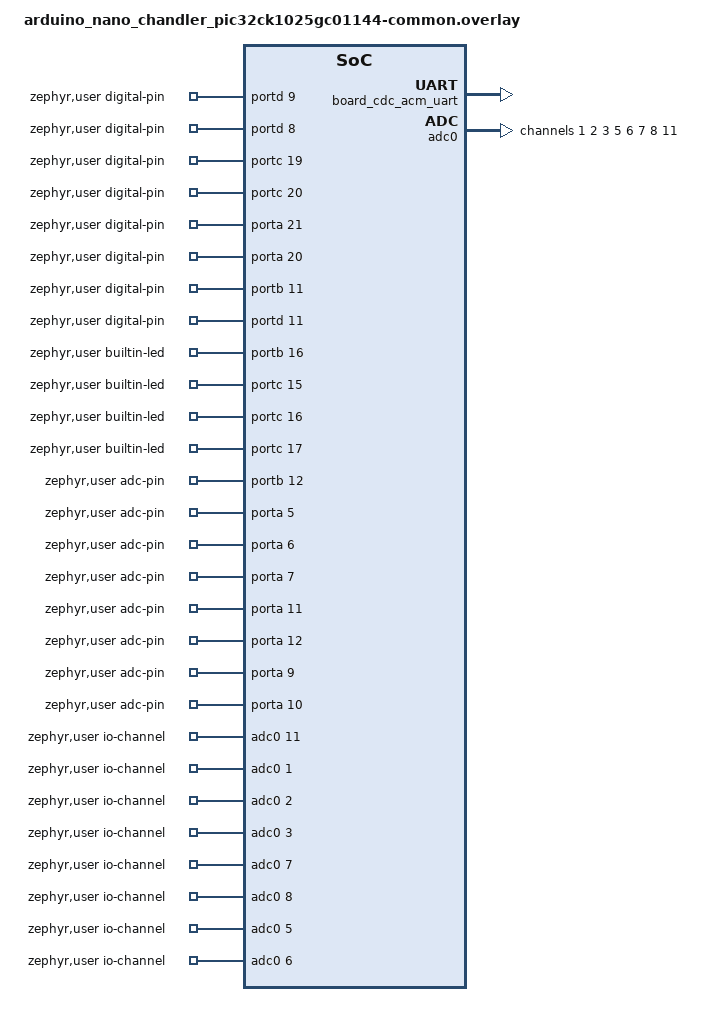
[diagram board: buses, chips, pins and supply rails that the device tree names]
/*
 * Copyright (c) 2026 Arduino SA
 *
 * SPDX-License-Identifier: Apache-2.0
 */

/*
 * Shared between the "nano_chandler" and "nano_chandler_monica" boards, which
 * both build out of this variant directory. Anything that differs between
 * the bare Nano Chandler module and the Monica carrier
 * (console/log routing, TCC2/D7 PWM, "serials" list, "pwms"/"pwm-pin-gpios")
 * is intentionally left out of this file - each variant's own .overlay
 * defines those itself.
 */

#include <zephyr/dt-bindings/adc/adc.h>
#include <zephyr/dt-bindings/pwm/pwm.h>

&zephyr_udc0 {
	board_cdc_acm_uart: board_cdc_acm_uart {
		compatible = "zephyr,cdc-acm-uart";
		status = "okay";
	};
};

&pinctrl {
	empty_default: empty_default {
		group1 {
			pinmux = <>;
		};
	};

	adc0_arduino: adc0_arduino {
		group1 {
			pinmux = <PB12B_ADC_VINP11>,
				 <PA5B_ADC_VINP1>,
				 <PA6B_ADC_VINP2>,
				 <PA7B_ADC_VINP3>,
				 <PA11B_ADC_VINP7>,
				 <PA12B_ADC_VINP8>,
				 <PA9B_ADC_VINP5>,
				 <PA10B_ADC_VINP6>;
		};
	};

	tcc1_arduino: tcc1_arduino {
		group1 {
			pinmux = <PC19F_TCC1_WO4>,
				 <PC20F_TCC1_WO5>,
				 <PC15F_TCC1_WO0>,
				 <PC16F_TCC1_WO1>,
				 <PC17F_TCC1_WO2>;
		};
	};

	tcc4_arduino: tcc4_arduino {
		group1 {
			pinmux = <PA21F_TCC4_WO1>,
				 <PA20F_TCC4_WO0>;
		};
	};

	tcc3_arduino_wo0: tcc3_arduino_wo0 {
		group1 {
			pinmux = <PB11G_TCC3_WO6>;
		};
	};

	tcc5_arduino_wo1: tcc5_arduino_wo1 {
		group1 {
			pinmux = <PA23F_TCC5_WO1>;
		};
	};

	tcc6_arduino_wo1: tcc6_arduino_wo1 {
		group1 {
			pinmux = <PB24F_TCC6_WO1>;
		};
	};
};

&adc0 {
	zephyr,deferred-init;
	pinctrl-0 = <&empty_default>;
	pinctrl-1 = <&empty_default>;
	pinctrl-2 = <&adc0_arduino>;
	pinctrl-names = "default", "sleep", "arduino";

	#address-cells = <1>;
	#size-cells = <0>;

	channel@1 {
		reg = <1>;
		zephyr,gain = "ADC_GAIN_1";
		zephyr,reference = "ADC_REF_VDD_1";
		zephyr,acquisition-time = <ADC_ACQ_TIME_MAX>;
		zephyr,resolution = <12>;
	};

	channel@2 {
		reg = <2>;
		zephyr,gain = "ADC_GAIN_1";
		zephyr,reference = "ADC_REF_VDD_1";
		zephyr,acquisition-time = <ADC_ACQ_TIME_MAX>;
		zephyr,resolution = <12>;
	};

	channel@3 {
		reg = <3>;
		zephyr,gain = "ADC_GAIN_1";
		zephyr,reference = "ADC_REF_VDD_1";
		zephyr,acquisition-time = <ADC_ACQ_TIME_MAX>;
		zephyr,resolution = <12>;
	};

	channel@5 {
		reg = <5>;
		zephyr,gain = "ADC_GAIN_1";
		zephyr,reference = "ADC_REF_VDD_1";
		zephyr,acquisition-time = <ADC_ACQ_TIME_MAX>;
		zephyr,resolution = <12>;
	};

	channel@6 {
		reg = <6>;
		zephyr,gain = "ADC_GAIN_1";
		zephyr,reference = "ADC_REF_VDD_1";
		zephyr,acquisition-time = <ADC_ACQ_TIME_MAX>;
		zephyr,resolution = <12>;
	};

	channel@7 {
		reg = <7>;
		zephyr,gain = "ADC_GAIN_1";
		zephyr,reference = "ADC_REF_VDD_1";
		zephyr,acquisition-time = <ADC_ACQ_TIME_MAX>;
		zephyr,resolution = <12>;
	};

	channel@8 {
		reg = <8>;
		zephyr,gain = "ADC_GAIN_1";
		zephyr,reference = "ADC_REF_VDD_1";
		zephyr,acquisition-time = <ADC_ACQ_TIME_MAX>;
		zephyr,resolution = <12>;
	};

	channel@b {
		reg = <11>;
		zephyr,gain = "ADC_GAIN_1";
		zephyr,reference = "ADC_REF_VDD_1";
		zephyr,acquisition-time = <ADC_ACQ_TIME_MAX>;
		zephyr,resolution = <12>;
	};
};

&sercom4 {
	zephyr,deferred-init;
};

&sercom3 {
	zephyr,deferred-init;
};

&sercom2 {
	zephyr,deferred-init;
};

&sercom5 {
	zephyr,deferred-init;
};

&can0 {
	zephyr,deferred-init;
};

&tcc1 {
	zephyr,deferred-init;
	pinctrl-0 = <&empty_default>;
	pinctrl-1 = <&empty_default>;
	pinctrl-2 = <&tcc1_arduino>;
	pinctrl-names = "default", "sleep", "arduino";
};

&tcc3 {
	zephyr,deferred-init;
	pinctrl-0 = <&empty_default>;
	pinctrl-1 = <&empty_default>;
	pinctrl-2 = <&tcc3_arduino_wo0>;
	pinctrl-names = "default", "sleep", "arduino";
};

&tcc4 {
	zephyr,deferred-init;
	pinctrl-0 = <&empty_default>;
	pinctrl-1 = <&empty_default>;
	pinctrl-2 = <&tcc4_arduino>;
	pinctrl-names = "default", "sleep", "arduino";
};

&tcc5 {
	zephyr,deferred-init;
	pinctrl-0 = <&empty_default>;
	pinctrl-1 = <&empty_default>;
	pinctrl-2 = <&tcc5_arduino_wo1>;
	pinctrl-names = "default", "sleep", "arduino";
};

&tcc6 {
	zephyr,deferred-init;
	pinctrl-0 = <&empty_default>;
	pinctrl-1 = <&empty_default>;
	pinctrl-2 = <&tcc6_arduino_wo1>;
	pinctrl-names = "default", "sleep", "arduino";
};

/*
 * PFM layout, for a board whose only bootloader is MCUboot living in BFM.
 * Upgrade-only (no swap): slot1 is a staging area for sketch deltas and
 * bootloader self-updates, not an A/B swap target.
 *
 *   0x0C000000  288K   slot0 (image-0)  loader
 *   0x0C048000  728K   slot2 (image-2)  sketch (raw zsk/ELF, no MCUboot header)
 *                     ----
 *                     1016K used; last 8K is dummy secondaries (MCUboot only)
 *
 * MCUboot is NOT here: it occupies one of the SoC's two 64K BFM Dual-Boot
 * slots at 0x08000000 and is reached directly by the hardware reset vector.
 * See mcuboot.overlay in this directory, which expresses the same physical
 * layout as offsets under flash0 because MCUboot needs one flash device for
 * both itself and its slots.
 *
 * Multi-image MCUboot: loader and sketch are SEPARATE images. The loader is
 * image 0 (MCUboot-headered, chainloaded by MCUboot); the sketch is image 1
 * (raw zsk/ELF, found by the loader). Each is uploaded independently via SMP
 * in MCUboot serial recovery (1200-bps touch / double-tap).
 *
 * BOOT_VALIDATE_SLOT0=n: MCUboot does not check image hashes at boot.
 * Integrity is the host's responsibility — a corrupt upload is caught by the
 * loader's sketch header validation, not by MCUboot.
 *
 * The sketch ceiling is 728K. Measured sketches are ~24K. upload.maximum_size
 * follows automatically: extra/build.sh derives it from this table into
 * boards.local.txt, which is generated - do not edit it by hand.
 */
&flash1 {
	/delete-node/ partitions;

	partitions {
		compatible = "fixed-partitions";
		#address-cells = <1>;
		#size-cells = <1>;

		slot0_partition: image_0: partition@0 {
			label = "image-0";
			reg = <0x0 DT_SIZE_K(288)>;
		};

		/* Image 1: the sketch's own partition, no longer inside slot0. */
		user_sketch: partition@48000 {
			label = "user_sketch";
			reg = <0x48000 DT_SIZE_K(728)>;
		};

	};
};

/ {
	zephyr,user {
		digital-pin-gpios = <&portd 9 0>,   /* D0  (UART1 RX) */
					    <&portd 8 0>,   /* D1  (UART1 TX) */
					    <&portc 19 0>,  /* D2  */
					    <&portc 20 0>,  /* D3  */
					    <&porta 21 0>,  /* D4  */
					    <&porta 20 0>,  /* D5  */
					    <&portb 11 0>,  /* D6  */
					    <&portd 11 0>,  /* D7  */
					    <&porta 23 0>,  /* D8  */
					    <&portb 24 0>,  /* D9  */
					    <&porta 26 0>,  /* D10 */
					    <&portc 0 0>,   /* D11 */
					    <&porta 24 0>,  /* D12 */
					    <&porta 25 0>,  /* D13 */
					    <&portb 12 0>,  /* D14 / A0 */
					    <&porta 5 0>,   /* D15 / A1 */
					    <&porta 6 0>,   /* D16 / A2 */
					    <&porta 7 0>,   /* D17 / A3 */
					    <&porta 11 0>,  /* D18 / A4 */
					    <&porta 12 0>,  /* D19 / A5 */
					    <&porta 9 0>,   /* D20 / A6 */
					    <&porta 10 0>,  /* D21 / A7 */
					    <&portb 14 0>,  /* D22 */
					    <&portb 15 0>,  /* D23 */
					    <&portb 16 0>,  /* D24 / LED_BUILTIN */
					    <&portc 15 0>,  /* D25 / LEDR */
					    <&portc 16 0>,  /* D26 / LEDG */
					    <&portc 17 0>,  /* D27 / LEDB */
					    <&portd 5 0>,   /* D28 */
					    <&portd 12 0>,  /* D29 */
						<&portc 14 0>,
						<&portd 16 0>,
						<&portd 14 0>;

		builtin-led-gpios = <&portb 16 0>,
					    <&portc 15 0>,
					    <&portc 16 0>,
					    <&portc 17 0>;

		cdc-acm-serial = <&board_cdc_acm_uart>; /* 'Serial' object is managed by SerialUSB */

		cans = <&can0>;

		i2cs = <&sercom4>, <&sercom3>;
		spis = <&sercom5>, <&sercom2>;

		adc-pin-gpios = <&portb 12 0>,
				<&porta 5 0>,
				<&porta 6 0>,
				<&porta 7 0>,
				<&porta 11 0>,
				<&porta 12 0>,
				<&porta 9 0>,
				<&porta 10 0>;

		io-channels = <&adc0 11>,
			      <&adc0 1>,
			      <&adc0 2>,
			      <&adc0 3>,
			      <&adc0 7>,
			      <&adc0 8>,
			      <&adc0 5>,
			      <&adc0 6>;
	};
};
